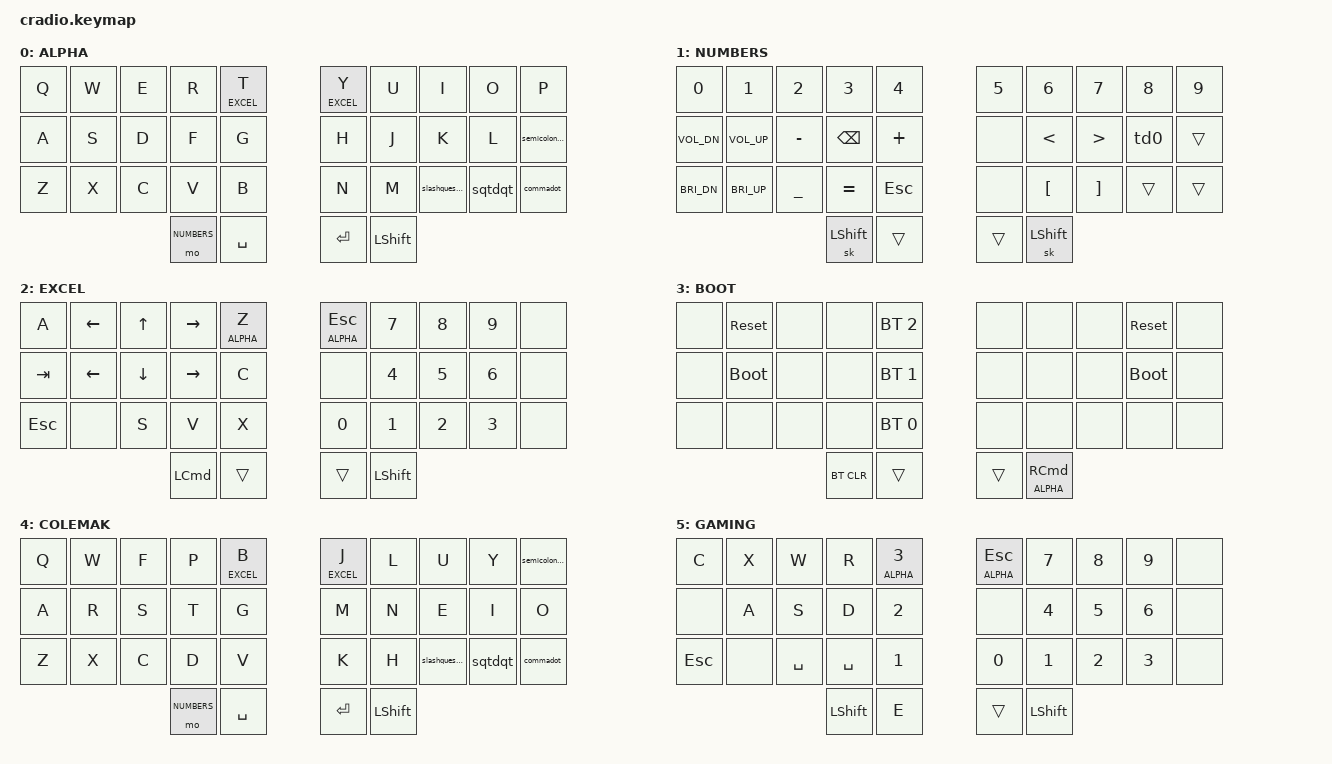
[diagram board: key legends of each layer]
// Copyright (c) 2022 The ZMK Contributors
// SPDX-License-Identifier: MIT

#include <behaviors.dtsi>
#include <dt-bindings/zmk/keys.h>
#include <dt-bindings/zmk/bt.h>

#define ALPHA 0
#define NUMBERS 1
#define EXCEL 2
#define BOOT 3
#define COLEMAK 4
#define GAMING 5

&lt { quick_tap_ms = <400>; tapping_term_ms = <400>; };

/ {
    //USED TO ACCESS BLUETOOTH CONFIG LAYER
    behaviors {
        td0: tap_dance_0 {
            label = "TAP_DANCE_0";
            compatible = "zmk,behavior-tap-dance";
            #binding-cells = <0>;
            tapping-term-ms = <400>;
            bindings = <&kp RCMD>, <&kp RCMD>, <&to BOOT>, <&to COLEMAK>, <&to GAMING>;
        };

        semicoloncolon: semicolon_colon {
            label = "SEMICOLON_COLON";
            compatible = "zmk,behavior-tap-dance";
            #binding-cells = <0>;
            tapping-term-ms = <200>;
            bindings = <&kp SEMICOLON>, <&kp COLON>;
        };

        commadot: comma_dot {
            label = "COMMA_DOT";
            compatible = "zmk,behavior-tap-dance";
            #binding-cells = <0>;
            tapping-term-ms = <200>;
            bindings = <&kp COMMA>, <&kp DOT>;
        };

        sqtdqt: sqt_dqt {
            label = "SQT_DQT";
            compatible = "zmk,behavior-tap-dance";
            #binding-cells = <0>;
            tapping-term-ms = <200>;
            bindings = <&kp SQT>, <&kp DQT>;
        };

        slashquestion: slash_question {
            label = "SLASH_QUESTION";
            compatible = "zmk,behavior-tap-dance";
            #binding-cells = <0>;
            tapping-term-ms = <200>;
            bindings = <&kp SLASH>, <&kp QUESTION>;
        };

        htl: holdto_layer {
            compatible = "zmk,behavior-hold-tap";
            label = "HOLDTO_LAYER";
            #binding-cells = <2>;
            tapping-term-ms = <300>;
            quick-tap-ms = <0>;
            flavor = "tap-preferred";
            bindings = <&to>, <&kp>;
        };

    };

    //CURRENTLY UNUSED
    conditional_layers {
        compatible = "zmk,conditional-layers";
        tri_layer {
            if-layers = <1 2>;
            then-layer = <3>;
        };
    };

    keymap {
        compatible = "zmk,keymap";
        
        //ALPHA LAYER aka 0
        ALPHA {
            bindings = <
        //
                &kp Q      &kp W      &kp E       &kp R          &htl EXCEL T            &htl EXCEL Y   &kp U   &kp I         &kp O        &kp P
        //
                &kp A      &kp S      &kp D       &kp F          &kp G                     &kp H          &kp J   &kp K         &kp L        &semicoloncolon
        //
                &kp Z      &kp X      &kp C       &kp V          &kp B                     &kp N          &kp M   &slashquestion  &sqtdqt  &commadot
        //
                                                  &mo NUMBERS     &kp SPACE                 &kp ENTER      &kp LSHFT
            >;
        };

        //NUMBERS LAYER aka 1
        NUMBERS {
            bindings = <
        //
                &kp N0        &kp N1         &kp N2          &kp N3     &kp N4                       &kp N5                &kp N6     &kp N7     &kp N8   &kp N9
        //
                &kp C_VOL_DN  &kp C_VOL_UP   &kp MINUS       &kp BACKSPACE   &kp PLUS                &none                 &kp LT     &kp GT     &td0    &trans 
        //
                &kp C_BRI_DN  &kp C_BRI_UP   &kp UNDERSCORE  &kp EQUAL  &kp ESC                      &none    &kp LBKT   &kp RBKT   &trans    &trans 
        //
                                                             &sk LSHFT  &trans                       &trans                &sk LSHFT 
            >;
        };

        //ARROWS AND COPYPASTE LAYER with extra numbers aka 2
        EXCEL {
            bindings = <
        //
                &kp A  &kp LEFT  &kp UP    &kp RIGHT  &htl ALPHA Z               &htl ALPHA ESC &kp N7 &kp N8 &kp N9 &none
        //
                &kp TAB     &kp LEFT  &kp DOWN  &kp RIGHT  &kp C                    &none        &kp N4   &kp N5   &kp N6 &none
        //
                &kp ESC   &none     &kp S     &kp V      &kp X                    &kp N0       &kp N1   &kp N2   &kp N3 &none
        //
                                              &kp LCMD   &trans                   &trans       &kp LSHFT
            >;
        };
        
        //BOOTLOADER STUFF aka 3
        BOOT {
            bindings = <
        //╭──────────┬──────────┬──────────┬──────────┬──────────╮   ╭──────────┬──────────┬──────────┬──────────┬──────────╮
        //│          │  RESET   │          │          │PROFILE 2 │   │          │          │          │  RESET   │          │
             &none    &sys_reset   &none      &none    &bt BT_SEL 2     &none      &none      &none    &sys_reset   &none
        //├──────────┼──────────┼──────────┼──────────┼──────────┤   ├──────────┼──────────┼──────────┼──────────┼──────────┤
        //│          │BOOTLOADER│          │          │PROFILE 1 │   │          │          │          │BOOTLOADER│          │
             &none    &bootloader  &none      &none    &bt BT_SEL 1     &none      &none      &none    &bootloader  &none
        //├──────────┼──────────┼──────────┼──────────┼──────────┤   ├──────────┼──────────┼──────────┼──────────┼──────────┤
        //│          │          │          │          │PROFILE 0 │   │          │          │          │          │          │
             &none      &none      &none      &none    &bt BT_SEL 0     &none      &none      &none      &none      &none
        //╰──────────┴──────────┴──────────┼──────────┼──────────┤   ├──────────┼──────────┼──────────┴──────────┴──────────╯
                                              &bt BT_CLR  &trans       &trans      &htl ALPHA RCMD
        //                                 ╰──────────┴──────────╯   ╰──────────┴──────────╯
            >;
        };

        //COLEMAK-DH LAYER aka 4
        COLEMAK {
            bindings = <
        //
                &kp Q      &kp W      &kp F       &kp P          &htl EXCEL B              &htl EXCEL J   &kp L   &kp U         &kp Y        &semicoloncolon
        //
                &kp A      &kp R      &kp S       &kp T          &kp G                     &kp M          &kp N   &kp E         &kp I        &kp O
        //
                &kp Z      &kp X      &kp C       &kp D          &kp V                     &kp K          &kp H   &slashquestion  &sqtdqt  &commadot
        //
                                                  &mo NUMBERS     &kp SPACE                 &kp ENTER      &kp LSHFT
            >;
        };

        //ARROWS AND COPYPASTE LAYER with extra numbers aka 5
        GAMING {
            bindings = <
        //
                &kp C     &kp X     &kp W     &kp R       &htl ALPHA N3               &htl ALPHA ESC &kp N7 &kp N8 &kp N9 &none
        //
                &none     &kp A     &kp S     &kp D       &kp N2                      &none        &kp N4   &kp N5   &kp N6 &none
        //
                &kp ESC   &none     &kp SPACE     &kp SPACE       &kp N1                      &kp N0       &kp N1   &kp N2   &kp N3 &none
        //
                                              &kp LSHFT   &kp E                      &trans       &kp LSHFT
            >;
        };
    };
};
